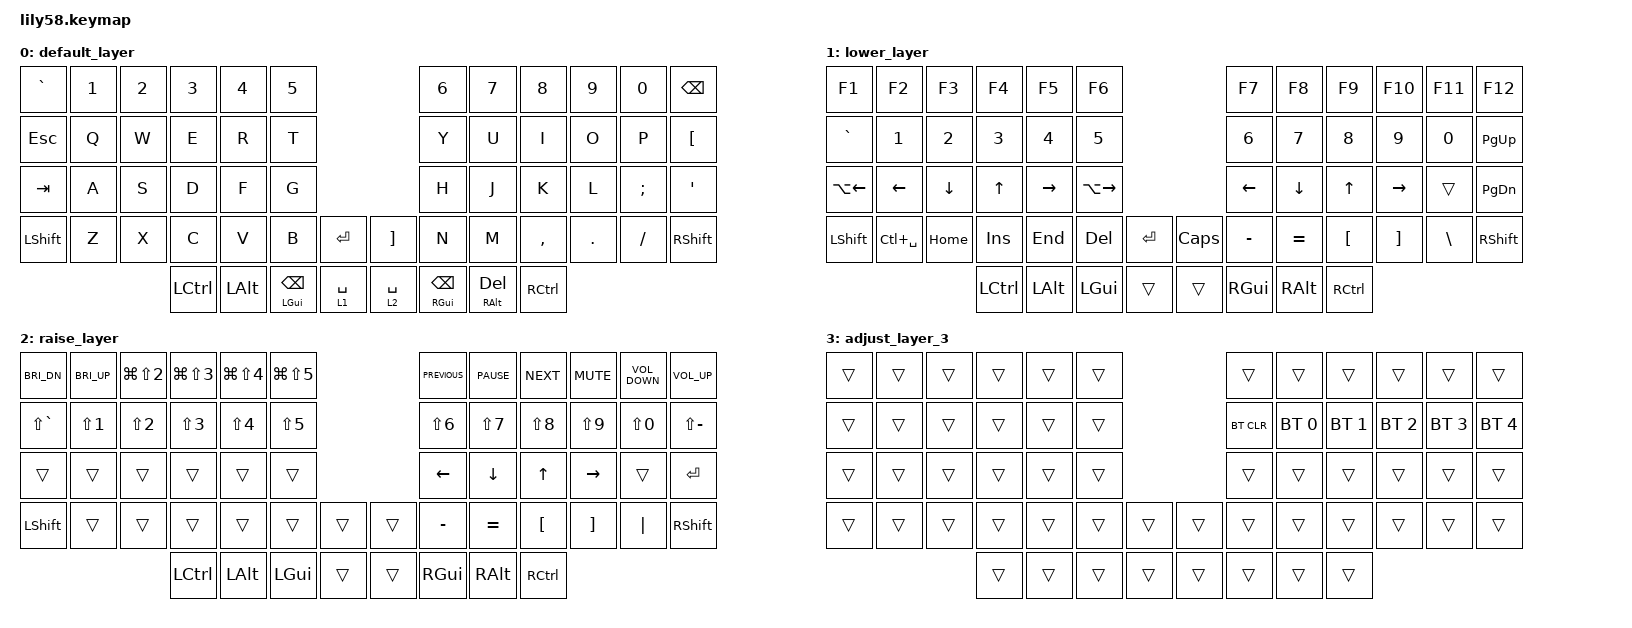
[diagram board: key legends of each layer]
/*
 * Copyright (c) 2020 The ZMK Contributors
 *
 * SPDX-License-Identifier: MIT
 */

#include <behaviors.dtsi>
#include <dt-bindings/zmk/bt.h>
#include <dt-bindings/zmk/keys.h>

/ {
    combos {
        compatible = "zmk,combos";

        adjust_layer {
            bindings = <&mo 3>;
            key-positions = <53 54>;
        };
    };

    keymap {
        compatible = "zmk,keymap";

        default_layer {
            // ------------------------------------------------------------------------------------------------------------
            // |  ESC  |  1  |  2  |  3   |  4   |  5   |                   |  6   |  7    |  8    |  9   |   0   |   `   |
            // |  TAB  |  Q  |  W  |  E   |  R   |  T   |                   |  Y   |  U    |  I    |  O   |   P   |   -   |
            // |  CTRL |  A  |  S  |  D   |  F   |  G   |                   |  H   |  J    |  K    |  L   |   ;   |   '   |
            // | SHIFT |  Z  |  X  |  C   |  V   |  B   |   "["  |  |  "]"  |  N   |  M    |  ,    |  .   |   /   | SHIFT |
            //                     | ALT  | GUI  | LOWER|  SPACE |  | ENTER | RAISE| BSPC  | GUI   |

            bindings = <
&kp GRAVE       &kp N1  &kp N2  &kp N3     &kp N4        &kp N5                                                &kp N6              &kp N7        &kp N8     &kp N9   &kp N0    &kp BACKSPACE
&kp ESC         &kp Q   &kp W   &kp E      &kp R         &kp T                                                 &kp Y               &kp U         &kp I      &kp O    &kp P     &kp LEFT_BRACKET
&kp TAB         &kp A   &kp S   &kp D      &kp F         &kp G                                                 &kp H               &kp J         &kp K      &kp L    &kp SEMI  &kp SQT
&kp LEFT_SHIFT  &kp Z   &kp X   &kp C      &kp V         &kp B               &kp ENTER      &kp RIGHT_BRACKET  &kp N               &kp M         &kp COMMA  &kp DOT  &kp FSLH  &kp RSHFT
                                &kp LCTRL  &kp LEFT_ALT  &mt LGUI BACKSPACE  &lt 1 SPACE    &lt 2 SPACE        &mt RGUI BACKSPACE  &mt RALT DEL  &kp RCTRL
            >;
        };

        lower_layer {
            // --------------------------------------------------------------------------------------------------------------
            // | LPAD  | BRDn | BRUp |  MUT |  Vo- |  Vo+ |                   |      |       |       |      |       |       |
            // |  F1   |  F2  |  F3  |  F4  |  F5  |  F6  |                   |  F7  |  F8   |  F9   |  F10 |  F11  |  F12  |
            // |   `   |  !   |  @   |  #   |  $   |  %   |                   |  ^   |  &    |  *    |  (   |   )   |   ~   |
            // |       |      |      |      |      |      |        |  |       |      |  _    |  +    |  {   |   }   |  "|"  |
            //                       |      |      |      |        |  |       |      |       |       |

            bindings = <
&kp F1              &kp F2         &kp F3    &kp F4        &kp F5           &kp F6                                &kp F7     &kp F8     &kp F9            &kp F10            &kp F11        &kp F12
&kp GRAVE           &kp N1         &kp N2    &kp N3        &kp N4           &kp N5                                &kp N6     &kp N7     &kp N8            &kp N9             &kp N0         &kp PAGE_UP
&kp LA(LEFT_ARROW)  &kp LEFT       &kp DOWN  &kp UP_ARROW  &kp RIGHT_ARROW  &kp LA(RIGHT)                         &kp LEFT   &kp DOWN   &kp UP            &kp RIGHT          &trans         &kp PAGE_DOWN
&kp LEFT_SHIFT      &kp LC(SPACE)  &kp HOME  &kp INS       &kp END          &kp DEL        &kp ENTER    &kp CLCK  &kp MINUS  &kp EQUAL  &kp LEFT_BRACKET  &kp RIGHT_BRACKET  &kp BACKSLASH  &kp RIGHT_SHIFT
                                             &kp LCTRL     &kp LEFT_ALT     &kp LGUI       &trans       &trans    &kp RGUI   &kp RALT   &kp RCTRL
            >;
        };

        raise_layer {
            // ------------------------------------------------------------------------------------------------------------
            // |       |     |     |      |      |      |                   |      |       |       |      |       |       |
            // |   `   |  1  |  2  |  3   |  4   |  5   |                   |  6   |   7   |   8   |  9   |   0   |       |
            // |   F1  |  F2 |  F3 |  F4  |  F5  |  F6  |                   |      |   <-  |   v   |  ^   |  ->   |       |
            // |   F7  |  F8 |  F9 |  F10 |  F11 |  F12 |        |  |       |  +   |   -   |   =   |  [   |   ]   |   \   |
            //                     |      |      |      |        |  |       |      |       |       |

            bindings = <
&kp C_BRI_DN    &kp C_BRI_UP  &kp LG(LS(NUMBER_2))  &kp LG(LS(NUMBER_3))  &kp LG(LS(NUMBER_4))  &kp LG(LS(N5))                    &kp C_PREVIOUS  &kp C_PAUSE  &kp C_NEXT        &kp K_MUTE         &kp C_VOLUME_DOWN  &kp C_VOLUME_UP
&kp LS(GRAVE)   &kp LS(N1)    &kp LS(N2)            &kp LS(N3)            &kp LS(N4)            &kp LS(N5)                        &kp LS(N6)      &kp LS(N7)   &kp LS(N8)        &kp LS(N9)         &kp LS(N0)         &kp LS(MINUS)
&trans          &trans        &trans                &trans                &trans                &trans                            &kp LEFT        &kp DOWN     &kp UP            &kp RIGHT          &trans             &kp ENTER
&kp LEFT_SHIFT  &trans        &trans                &trans                &trans                &trans          &trans    &trans  &kp MINUS       &kp EQUAL    &kp LEFT_BRACKET  &kp RIGHT_BRACKET  &kp PIPE           &kp RIGHT_SHIFT
                                                    &kp LCTRL             &kp LEFT_ALT          &kp LEFT_GUI    &trans    &trans  &kp RGUI        &kp RALT     &kp RCTRL
            >;
        };

        adjust_layer_3 {
            bindings = <
&trans  &trans  &trans  &trans  &trans  &trans                    &trans      &trans        &trans        &trans        &trans        &trans
&trans  &trans  &trans  &trans  &trans  &trans                    &bt BT_CLR  &bt BT_SEL 0  &bt BT_SEL 1  &bt BT_SEL 2  &bt BT_SEL 3  &bt BT_SEL 4
&trans  &trans  &trans  &trans  &trans  &trans                    &trans      &trans        &trans        &trans        &trans        &trans
&trans  &trans  &trans  &trans  &trans  &trans  &trans    &trans  &trans      &trans        &trans        &trans        &trans        &trans
                        &trans  &trans  &trans  &trans    &trans  &trans      &trans        &trans
            >;
        };
    };
};
